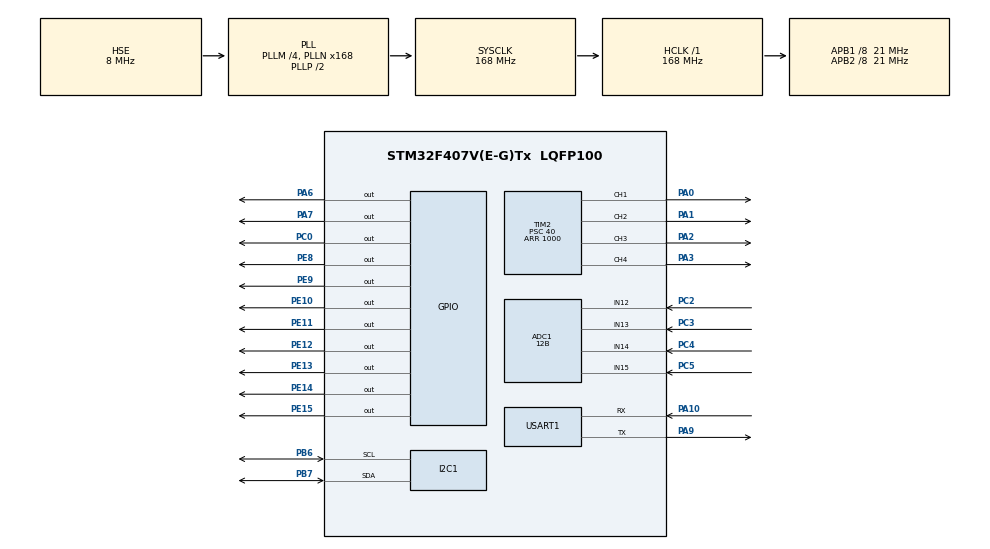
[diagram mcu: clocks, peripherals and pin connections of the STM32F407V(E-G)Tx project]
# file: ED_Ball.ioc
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ADC1.Channel-0\#ChannelRegularConversion=ADC_CHANNEL_12
ADC1.Channel-4\#ChannelRegularConversion=ADC_CHANNEL_13
ADC1.Channel-5\#ChannelRegularConversion=ADC_CHANNEL_14
ADC1.Channel-6\#ChannelRegularConversion=ADC_CHANNEL_15
ADC1.ClockPrescaler=ADC_CLOCK_SYNC_PCLK_DIV2
ADC1.ContinuousConvMode=ENABLE
ADC1.DMAContinuousRequests=ENABLE
ADC1.DataAlign=ADC_DATAALIGN_RIGHT
ADC1.DiscontinuousConvMode=DISABLE
ADC1.EOCSelection=ADC_EOC_SINGLE_CONV
ADC1.EnableAnalogWatchDog=false
ADC1.ExternalTrigConv=ADC_SOFTWARE_START
ADC1.ExternalTrigConvEdge=ADC_EXTERNALTRIGCONVEDGE_NONE
ADC1.InjNumberOfConversion=0
ADC1.NbrOfConversion=4
ADC1.NbrOfConversionFlag=1
ADC1.Rank-0\#ChannelRegularConversion=1
ADC1.Rank-4\#ChannelRegularConversion=2
ADC1.Rank-5\#ChannelRegularConversion=3
ADC1.Rank-6\#ChannelRegularConversion=4
ADC1.Resolution=ADC_RESOLUTION_12B
ADC1.SamplingTime-0\#ChannelRegularConversion=ADC_SAMPLETIME_3CYCLES
ADC1.SamplingTime-4\#ChannelRegularConversion=ADC_SAMPLETIME_3CYCLES
ADC1.SamplingTime-5\#ChannelRegularConversion=ADC_SAMPLETIME_3CYCLES
ADC1.SamplingTime-6\#ChannelRegularConversion=ADC_SAMPLETIME_3CYCLES
ADC1.ScanConvMode=ENABLE
ADC1.master=1
Dma.ADC1.3.Direction=DMA_PERIPH_TO_MEMORY
Dma.ADC1.3.FIFOMode=DMA_FIFOMODE_DISABLE
Dma.ADC1.3.Instance=DMA2_Stream0
Dma.ADC1.3.MemDataAlignment=DMA_MDATAALIGN_WORD
Dma.ADC1.3.MemInc=DMA_MINC_ENABLE
Dma.ADC1.3.Mode=DMA_CIRCULAR
Dma.ADC1.3.PeriphDataAlignment=DMA_PDATAALIGN_WORD
Dma.ADC1.3.PeriphInc=DMA_PINC_DISABLE
Dma.ADC1.3.Priority=DMA_PRIORITY_LOW
Dma.I2C1_RX.0.Direction=DMA_PERIPH_TO_MEMORY
Dma.I2C1_RX.0.FIFOMode=DMA_FIFOMODE_DISABLE
Dma.I2C1_RX.0.Instance=DMA1_Stream0
Dma.I2C1_RX.0.MemDataAlignment=DMA_MDATAALIGN_BYTE
Dma.I2C1_RX.0.MemInc=DMA_MINC_ENABLE
Dma.I2C1_RX.0.Mode=DMA_NORMAL
Dma.I2C1_RX.0.PeriphDataAlignment=DMA_PDATAALIGN_BYTE
Dma.I2C1_RX.0.PeriphInc=DMA_PINC_DISABLE
Dma.I2C1_RX.0.Priority=DMA_PRIORITY_LOW
Dma.I2C1_TX.1.Direction=DMA_MEMORY_TO_PERIPH
Dma.I2C1_TX.1.FIFOMode=DMA_FIFOMODE_DISABLE
Dma.I2C1_TX.1.Instance=DMA1_Stream6
Dma.I2C1_TX.1.MemDataAlignment=DMA_MDATAALIGN_BYTE
Dma.I2C1_TX.1.MemInc=DMA_MINC_ENABLE
Dma.I2C1_TX.1.Mode=DMA_NORMAL
Dma.I2C1_TX.1.PeriphDataAlignment=DMA_PDATAALIGN_BYTE
Dma.I2C1_TX.1.PeriphInc=DMA_PINC_DISABLE
Dma.I2C1_TX.1.Priority=DMA_PRIORITY_LOW
Dma.Request0=I2C1_RX
Dma.Request1=I2C1_TX
Dma.Request2=USART1_TX
Dma.Request3=ADC1
Dma.USART1_TX.2.Direction=DMA_MEMORY_TO_PERIPH
Dma.USART1_TX.2.FIFOMode=DMA_FIFOMODE_DISABLE
Dma.USART1_TX.2.Instance=DMA2_Stream7
Dma.USART1_TX.2.MemDataAlignment=DMA_MDATAALIGN_BYTE
Dma.USART1_TX.2.MemInc=DMA_MINC_ENABLE
Dma.USART1_TX.2.Mode=DMA_NORMAL
Dma.USART1_TX.2.PeriphDataAlignment=DMA_PDATAALIGN_BYTE
Dma.USART1_TX.2.PeriphInc=DMA_PINC_DISABLE
Dma.USART1_TX.2.Priority=DMA_PRIORITY_LOW
FREERTOS.MEMORY_ALLOCATION=1
FREERTOS.Mutexes01=sl_send_lock,Static,sl_send_lockControlBlock;dl_send_lock,Static,dl_send_lockControlBlock;ph_send_lock,Static,ph_send_lockControlBlock;ks_lock,Static,ks_lockControlBlock;task_lock,Static,task_lockControlBlock
FREERTOS.Tasks01=defaultTask,0,256,StartDefaultTask,Default,NULL,Static,defaultTaskBuffer,defaultTaskControlBlock;sendTask,0,256,StartSendTask,As external,NULL,Static,sendTaskBuffer,sendTaskControlBlock;receiveTask,0,512,StartReceiveTask,As external,NULL,Static,receiveTaskBuffer,receiveTaskControlBlock;controlTask,3,512,StartControlTask,Default,NULL,Static,controlTaskBuffer,controlTaskControlBlock;tasksTask,2,256,StartTasksTask,Default,NULL,Static,tasksTaskBuffer,tasksTaskControlBlock
FREERTOS.configMINIMAL_STACK_SIZE=256
FREERTOS.configUSE_PREEMPTION=1
I2C1.I2C_Mode=I2C_Fast
Mcu.Family=STM32F4
Mcu.Name=STM32F407V(E-G)Tx
Mcu.Package=LQFP100
NVIC.DMA1_Stream0_IRQn=true\:0\:0\:false\:false\:true\:false
NVIC.DMA1_Stream6_IRQn=true\:0\:0\:false\:false\:true\:false
NVIC.DMA2_Stream0_IRQn=true\:5\:0\:false\:false\:true\:true
NVIC.DMA2_Stream7_IRQn=true\:5\:0\:false\:false\:true\:true
NVIC.I2C1_EV_IRQn=true\:5\:0\:false\:false\:true\:true
NVIC.PriorityGroup=NVIC_PRIORITYGROUP_4
NVIC.TIM8_TRG_COM_TIM14_IRQn=true\:0\:0\:false\:false\:true\:false
NVIC.TIM8_UP_TIM13_IRQn=true\:5\:0\:false\:false\:true\:true
NVIC.TimeBase=TIM8_TRG_COM_TIM14_IRQn
NVIC.TimeBaseIP=TIM14
NVIC.USART1_IRQn=true\:0\:0\:false\:false\:true\:false
PA0-WKUP.Signal=S_TIM2_CH1_ETR
PA1.Signal=S_TIM2_CH2
PA10.Mode=Multiprocessor_communication
PA10.Signal=USART1_RX
PA2.Signal=S_TIM2_CH3
PA3.Signal=S_TIM2_CH4
PA6.Signal=GPIO_Output
PA7.Signal=GPIO_Output
PA9.Mode=Multiprocessor_communication
PA9.Signal=USART1_TX
PB6.Mode=I2C
PB6.Signal=I2C1_SCL
PB7.Mode=I2C
PB7.Signal=I2C1_SDA
PC0.Signal=GPIO_Output
PC2.Signal=ADCx_IN12
PC3.Signal=ADCx_IN13
PC4.Signal=ADCx_IN14
PC5.Signal=ADCx_IN15
PE10.Signal=GPIO_Output
PE11.Signal=GPIO_Output
PE12.Signal=GPIO_Output
PE13.Signal=GPIO_Output
PE14.Signal=GPIO_Output
PE15.Signal=GPIO_Output
PE8.Signal=GPIO_Output
PE9.Signal=GPIO_Output
PH0-OSC_IN.Mode=HSE-External-Oscillator
PH0-OSC_IN.Signal=RCC_OSC_IN
PH1-OSC_OUT.Mode=HSE-External-Oscillator
PH1-OSC_OUT.Signal=RCC_OSC_OUT
ProjectManager.HeapSize=0x200
ProjectManager.StackSize=0x400
ProjectManager.TargetToolchain=SW4STM32
RCC.48MHZClocksFreq_Value=84000000
RCC.AHBFreq_Value=168000000
RCC.APB1CLKDivider=RCC_HCLK_DIV8
RCC.APB1Freq_Value=21000000
RCC.APB1TimFreq_Value=42000000
RCC.APB2CLKDivider=RCC_HCLK_DIV8
RCC.APB2Freq_Value=21000000
RCC.APB2TimFreq_Value=42000000
RCC.CortexFreq_Value=21000000
RCC.Cortex_Div=SYSTICK_CLKSOURCE_HCLK_DIV8
RCC.HCLKFreq_Value=168000000
RCC.HSE_VALUE=8000000
RCC.HSI_VALUE=16000000
RCC.LSE_VALUE=32768
RCC.PLLM=4
RCC.PLLN=168
RCC.PLLSourceVirtual=RCC_PLLSOURCE_HSE
RCC.SYSCLKFreq_VALUE=168000000
RCC.SYSCLKSource=RCC_SYSCLKSOURCE_PLLCLK
RCC.VCOOutputFreq_Value=336000000
SH.ADCx_IN12.0=ADC1_IN12,IN12
SH.ADCx_IN13.0=ADC1_IN13,IN13
SH.ADCx_IN14.0=ADC1_IN14,IN14
SH.ADCx_IN15.0=ADC1_IN15,IN15
SH.S_TIM2_CH1_ETR.0=TIM2_CH1,PWM Generation1 CH1
SH.S_TIM2_CH2.0=TIM2_CH2,PWM Generation2 CH2
SH.S_TIM2_CH3.0=TIM2_CH3,PWM Generation3 CH3
SH.S_TIM2_CH4.0=TIM2_CH4,PWM Generation4 CH4
TIM13.Period=100
TIM13.Prescaler=40
TIM2.Channel-PWM\ Generation1\ CH1=TIM_CHANNEL_1
TIM2.Channel-PWM\ Generation2\ CH2=TIM_CHANNEL_2
TIM2.Channel-PWM\ Generation3\ CH3=TIM_CHANNEL_3
TIM2.Channel-PWM\ Generation4\ CH4=TIM_CHANNEL_4
TIM2.Period=1000
TIM2.Prescaler=40
TIM2.Pulse-PWM\ Generation1\ CH1=0
TIM2.Pulse-PWM\ Generation4\ CH4=0
USART1.VirtualMode=VM_ASYNC
VP_FREERTOS_VS_ENABLE.Mode=Enabled
VP_SYS_VS_tim14.Mode=TIM14
VP_TIM13_VS_ClockSourceINT.Mode=Enable_Timer
board=ED_Ball

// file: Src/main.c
/**
  ******************************************************************************
  * File Name          : main.c
  * Description        : Main program body
  ******************************************************************************
  * This notice applies to any and all portions of this file
  * that are not between comment pairs USER CODE BEGIN and
  * USER CODE END. Other portions of this file, whether
  * inserted by the user or by software development tools
  * are owned by their respective copyright owners.
  *
  * Copyright (c) 2017 STMicroelectronics International N.V.
  * All rights reserved.
  *
  * Redistribution and use in source and binary forms, with or without
  * modification, are permitted, provided that the following conditions are met:
  *
  * 1. Redistribution of source code must retain the above copyright notice,
  *    this list of conditions and the following disclaimer.
  * 2. Redistributions in binary form must reproduce the above copyright notice,
  *    this list of conditions and the following disclaimer in the documentation
  *    and/or other materials provided with the distribution.
  * 3. Neither the name of STMicroelectronics nor the names of other
  *    contributors to this software may be used to endorse or promote products
  *    derived from this software without specific written permission.
  * 4. This software, including modifications and/or derivative works of this
  *    software, must execute solely and exclusively on microcontroller or
  *    microprocessor devices manufactured by or for STMicroelectronics.
  * 5. Redistribution and use of this software other than as permitted under
  *    this license is void and will automatically terminate your rights under
  *    this license.
  *
  * THIS SOFTWARE IS PROVIDED BY STMICROELECTRONICS AND CONTRIBUTORS "AS IS"
  * AND ANY EXPRESS, IMPLIED OR STATUTORY WARRANTIES, INCLUDING, BUT NOT
  * LIMITED TO, THE IMPLIED WARRANTIES OF MERCHANTABILITY, FITNESS FOR A
  * PARTICULAR PURPOSE AND NON-INFRINGEMENT OF THIRD PARTY INTELLECTUAL PROPERTY
  * RIGHTS ARE DISCLAIMED TO THE FULLEST EXTENT PERMITTED BY LAW. IN NO EVENT
  * SHALL STMICROELECTRONICS OR CONTRIBUTORS BE LIABLE FOR ANY DIRECT, INDIRECT,
  * INCIDENTAL, SPECIAL, EXEMPLARY, OR CONSEQUENTIAL DAMAGES (INCLUDING, BUT NOT
  * LIMITED TO, PROCUREMENT OF SUBSTITUTE GOODS OR SERVICES; LOSS OF USE, DATA,
  * OR PROFITS; OR BUSINESS INTERRUPTION) HOWEVER CAUSED AND ON ANY THEORY OF
  * LIABILITY, WHETHER IN CONTRACT, STRICT LIABILITY, OR TORT (INCLUDING
  * NEGLIGENCE OR OTHERWISE) ARISING IN ANY WAY OUT OF THE USE OF THIS SOFTWARE,
  * EVEN IF ADVISED OF THE POSSIBILITY OF SUCH DAMAGE.
  *
  ******************************************************************************
  */
#include "main.h"
#include "stm32f4xx_hal.h"
#include "cmsis_os.h"

/* USER CODE BEGIN Includes */

#include <math.h>
#include <string.h>

#include "SimCom.h"
#include "ServiceLayer.h"

#include "flash.h"
#include "motion.h"
#include "mpu6050.h"
#include "pwm.h"
#include "pid.h"
#include "sr04.h"
#include "time.h"

/* USER CODE END Includes */

ADC_HandleTypeDef hadc1;
DMA_HandleTypeDef hdma_adc1;

I2C_HandleTypeDef hi2c1;
DMA_HandleTypeDef hdma_i2c1_rx;
DMA_HandleTypeDef hdma_i2c1_tx;

TIM_HandleTypeDef htim2;
TIM_HandleTypeDef htim13;

UART_HandleTypeDef huart1;
DMA_HandleTypeDef hdma_usart1_tx;

osThreadId defaultTaskHandle;
uint32_t defaultTaskBuffer[ 256 ];
osStaticThreadDef_t defaultTaskControlBlock;
osThreadId sendTaskHandle;
uint32_t sendTaskBuffer[ 256 ];
osStaticThreadDef_t sendTaskControlBlock;
osThreadId receiveTaskHandle;
uint32_t receiveTaskBuffer[ 512 ];
osStaticThreadDef_t receiveTaskControlBlock;
osThreadId controlTaskHandle;
uint32_t controlTaskBuffer[ 512 ];
osStaticThreadDef_t controlTaskControlBlock;
osThreadId tasksTaskHandle;
uint32_t tasksTaskBuffer[ 256 ];
osStaticThreadDef_t tasksTaskControlBlock;
osMutexId sl_send_lockHandle;
osStaticMutexDef_t sl_send_lockControlBlock;
osMutexId dl_send_lockHandle;
osStaticMutexDef_t dl_send_lockControlBlock;
osMutexId ph_send_lockHandle;
osStaticMutexDef_t ph_send_lockControlBlock;
osMutexId ks_lockHandle;
osStaticMutexDef_t ks_lockControlBlock;
osMutexId task_lockHandle;
osStaticMutexDef_t task_lockControlBlock;

/* USER CODE BEGIN PV */
/* Private variables ---------------------------------------------------------*/

struct kine_state ks = {0};
char currentTask = '0';

/* USER CODE END PV */

void SystemClock_Config(void);
static void MX_GPIO_Init(void);
static void MX_DMA_Init(void);
static void MX_USART1_UART_Init(void);
static void MX_I2C1_Init(void);
static void MX_TIM2_Init(void);
static void MX_TIM13_Init(void);
static void MX_ADC1_Init(void);
void StartDefaultTask(void const * argument);
extern void StartSendTask(void const * argument);
extern void StartReceiveTask(void const * argument);
void StartControlTask(void const * argument);
void StartTasksTask(void const * argument);

void HAL_TIM_MspPostInit(TIM_HandleTypeDef *htim);

/* USER CODE BEGIN PFP */
/* Private function prototypes -----------------------------------------------*/

/* USER CODE END PFP */

int main(void)
{

  /* MCU Configuration----------------------------------------------------------*/

  /* Reset of all peripherals, Initializes the Flash interface and the Systick. */
  HAL_Init();

  /* Configure the system clock */
  SystemClock_Config();

  /* Initialize all configured peripherals */
  MX_GPIO_Init();
  MX_DMA_Init();
  MX_USART1_UART_Init();
  MX_I2C1_Init();
  MX_TIM2_Init();
  MX_TIM13_Init();
  MX_ADC1_Init();

  /* USER CODE BEGIN 2 */
  simcom_init(&huart1);

  time_init(&htim13);

  flash_init();

  resistor_init(&hadc1);
  resistor_start_dma();

  /* USER CODE END 2 */

  /* Create the mutex(es) */
  /* definition and creation of sl_send_lock */
  osMutexStaticDef(sl_send_lock, &sl_send_lockControlBlock);
  sl_send_lockHandle = osMutexCreate(osMutex(sl_send_lock));

  /* definition and creation of dl_send_lock */
  osMutexStaticDef(dl_send_lock, &dl_send_lockControlBlock);
  dl_send_lockHandle = osMutexCreate(osMutex(dl_send_lock));

  /* definition and creation of ph_send_lock */
  osMutexStaticDef(ph_send_lock, &ph_send_lockControlBlock);
  ph_send_lockHandle = osMutexCreate(osMutex(ph_send_lock));

  /* definition and creation of ks_lock */
  osMutexStaticDef(ks_lock, &ks_lockControlBlock);
  ks_lockHandle = osMutexCreate(osMutex(ks_lock));

  /* definition and creation of task_lock */
  osMutexStaticDef(task_lock, &task_lockControlBlock);
  task_lockHandle = osMutexCreate(osMutex(task_lock));

  /* Create the thread(s) */
  /* definition and creation of defaultTask */
  osThreadStaticDef(defaultTask, StartDefaultTask, osPriorityNormal, 0, 256, defaultTaskBuffer, &defaultTaskControlBlock);
  defaultTaskHandle = osThreadCreate(osThread(defaultTask), NULL);

  /* definition and creation of sendTask */
  osThreadStaticDef(sendTask, StartSendTask, osPriorityNormal, 0, 256, sendTaskBuffer, &sendTaskControlBlock);
  sendTaskHandle = osThreadCreate(osThread(sendTask), NULL);

  /* definition and creation of receiveTask */
  osThreadStaticDef(receiveTask, StartReceiveTask, osPriorityNormal, 0, 512, receiveTaskBuffer, &receiveTaskControlBlock);
  receiveTaskHandle = osThreadCreate(osThread(receiveTask), NULL);

  /* definition and creation of controlTask */
  osThreadStaticDef(controlTask, StartControlTask, osPriorityRealtime, 0, 512, controlTaskBuffer, &controlTaskControlBlock);
  controlTaskHandle = osThreadCreate(osThread(controlTask), NULL);

  /* definition and creation of tasksTask */
  osThreadStaticDef(tasksTask, StartTasksTask, osPriorityHigh, 0, 256, tasksTaskBuffer, &tasksTaskControlBlock);
  tasksTaskHandle = osThreadCreate(osThread(tasksTask), NULL);

  /* Start scheduler */
  osKernelStart();

  /* We should never get here as control is now taken by the scheduler */

  /* Infinite loop */
  while (1)
  {

  }

}

/** System Clock Configuration
*/
void SystemClock_Config(void)
{

  RCC_OscInitTypeDef RCC_OscInitStruct;
  RCC_ClkInitTypeDef RCC_ClkInitStruct;

    /**Configure the main internal regulator output voltage
    */
  __HAL_RCC_PWR_CLK_ENABLE();

  __HAL_PWR_VOLTAGESCALING_CONFIG(PWR_REGULATOR_VOLTAGE_SCALE1);

    /**Initializes the CPU, AHB and APB busses clocks
    */
  RCC_OscInitStruct.OscillatorType = RCC_OSCILLATORTYPE_HSE;
  RCC_OscInitStruct.HSEState = RCC_HSE_ON;
  RCC_OscInitStruct.PLL.PLLState = RCC_PLL_ON;
  RCC_OscInitStruct.PLL.PLLSource = RCC_PLLSOURCE_HSE;
  RCC_OscInitStruct.PLL.PLLM = 4;
  RCC_OscInitStruct.PLL.PLLN = 168;
  RCC_OscInitStruct.PLL.PLLP = RCC_PLLP_DIV2;
  RCC_OscInitStruct.PLL.PLLQ = 4;
  if (HAL_RCC_OscConfig(&RCC_OscInitStruct) != HAL_OK)
  {
    _Error_Handler(__FILE__, __LINE__);
  }

    /**Initializes the CPU, AHB and APB busses clocks
    */
  RCC_ClkInitStruct.ClockType = RCC_CLOCKTYPE_HCLK|RCC_CLOCKTYPE_SYSCLK
                              |RCC_CLOCKTYPE_PCLK1|RCC_CLOCKTYPE_PCLK2;
  RCC_ClkInitStruct.SYSCLKSource = RCC_SYSCLKSOURCE_PLLCLK;
  RCC_ClkInitStruct.AHBCLKDivider = RCC_SYSCLK_DIV1;
  RCC_ClkInitStruct.APB1CLKDivider = RCC_HCLK_DIV8;
  RCC_ClkInitStruct.APB2CLKDivider = RCC_HCLK_DIV8;

  if (HAL_RCC_ClockConfig(&RCC_ClkInitStruct, FLASH_LATENCY_5) != HAL_OK)
  {
    _Error_Handler(__FILE__, __LINE__);
  }

    /**Configure the Systick interrupt time
    */
  HAL_SYSTICK_Config(HAL_RCC_GetHCLKFreq()/8000);

    /**Configure the Systick
    */
  HAL_SYSTICK_CLKSourceConfig(SYSTICK_CLKSOURCE_HCLK_DIV8);

  /* SysTick_IRQn interrupt configuration */
  HAL_NVIC_SetPriority(SysTick_IRQn, 15, 0);
}

/* ADC1 init function */
static void MX_ADC1_Init(void)
{

  ADC_ChannelConfTypeDef sConfig;

    /**Configure the global features of the ADC (Clock, Resolution, Data Alignment and number of conversion)
    */
  hadc1.Instance = ADC1;
  hadc1.Init.ClockPrescaler = ADC_CLOCK_SYNC_PCLK_DIV2;
  hadc1.Init.Resolution = ADC_RESOLUTION_12B;
  hadc1.Init.ScanConvMode = ENABLE;
  hadc1.Init.ContinuousConvMode = ENABLE;
  hadc1.Init.DiscontinuousConvMode = DISABLE;
  hadc1.Init.ExternalTrigConvEdge = ADC_EXTERNALTRIGCONVEDGE_NONE;
  hadc1.Init.ExternalTrigConv = ADC_SOFTWARE_START;
  hadc1.Init.DataAlign = ADC_DATAALIGN_RIGHT;
  hadc1.Init.NbrOfConversion = 4;
  hadc1.Init.DMAContinuousRequests = ENABLE;
  hadc1.Init.EOCSelection = ADC_EOC_SINGLE_CONV;
  if (HAL_ADC_Init(&hadc1) != HAL_OK)
  {
    _Error_Handler(__FILE__, __LINE__);
  }

    /**Configure for the selected ADC regular channel its corresponding rank in the sequencer and its sample time.
    */
  sConfig.Channel = ADC_CHANNEL_12;
  sConfig.Rank = 1;
  sConfig.SamplingTime = ADC_SAMPLETIME_3CYCLES;
  if (HAL_ADC_ConfigChannel(&hadc1, &sConfig) != HAL_OK)
  {
    _Error_Handler(__FILE__, __LINE__);
  }

    /**Configure for the selected ADC regular channel its corresponding rank in the sequencer and its sample time.
    */
  sConfig.Channel = ADC_CHANNEL_13;
  sConfig.Rank = 2;
  if (HAL_ADC_ConfigChannel(&hadc1, &sConfig) != HAL_OK)
  {
    _Error_Handler(__FILE__, __LINE__);
  }

    /**Configure for the selected ADC regular channel its corresponding rank in the sequencer and its sample time.
    */
  sConfig.Channel = ADC_CHANNEL_14;
  sConfig.Rank = 3;
  if (HAL_ADC_ConfigChannel(&hadc1, &sConfig) != HAL_OK)
  {
    _Error_Handler(__FILE__, __LINE__);
  }

    /**Configure for the selected ADC regular channel its corresponding rank in the sequencer and its sample time.
    */
  sConfig.Channel = ADC_CHANNEL_15;
  sConfig.Rank = 4;
  if (HAL_ADC_ConfigChannel(&hadc1, &sConfig) != HAL_OK)
  {
    _Error_Handler(__FILE__, __LINE__);
  }

}

/* I2C1 init function */
static void MX_I2C1_Init(void)
{

  hi2c1.Instance = I2C1;
  hi2c1.Init.ClockSpeed = 400000;
  hi2c1.Init.DutyCycle = I2C_DUTYCYCLE_2;
  hi2c1.Init.OwnAddress1 = 0;
  hi2c1.Init.AddressingMode = I2C_ADDRESSINGMODE_7BIT;
  hi2c1.Init.DualAddressMode = I2C_DUALADDRESS_DISABLE;
  hi2c1.Init.OwnAddress2 = 0;
  hi2c1.Init.GeneralCallMode = I2C_GENERALCALL_DISABLE;
  hi2c1.Init.NoStretchMode = I2C_NOSTRETCH_DISABLE;
  if (HAL_I2C_Init(&hi2c1) != HAL_OK)
  {
    _Error_Handler(__FILE__, __LINE__);
  }

}

/* TIM2 init function */
static void MX_TIM2_Init(void)
{

  TIM_MasterConfigTypeDef sMasterConfig;
  TIM_OC_InitTypeDef sConfigOC;

  htim2.Instance = TIM2;
  htim2.Init.Prescaler = 40;
  htim2.Init.CounterMode = TIM_COUNTERMODE_UP;
  htim2.Init.Period = 1000;
  htim2.Init.ClockDivision = TIM_CLOCKDIVISION_DIV1;
  if (HAL_TIM_PWM_Init(&htim2) != HAL_OK)
  {
    _Error_Handler(__FILE__, __LINE__);
  }

  sMasterConfig.MasterOutputTrigger = TIM_TRGO_RESET;
  sMasterConfig.MasterSlaveMode = TIM_MASTERSLAVEMODE_DISABLE;
  if (HAL_TIMEx_MasterConfigSynchronization(&htim2, &sMasterConfig) != HAL_OK)
  {
    _Error_Handler(__FILE__, __LINE__);
  }

  sConfigOC.OCMode = TIM_OCMODE_PWM1;
  sConfigOC.Pulse = 0;
  sConfigOC.OCPolarity = TIM_OCPOLARITY_HIGH;
  sConfigOC.OCFastMode = TIM_OCFAST_DISABLE;
  if (HAL_TIM_PWM_ConfigChannel(&htim2, &sConfigOC, TIM_CHANNEL_1) != HAL_OK)
  {
    _Error_Handler(__FILE__, __LINE__);
  }

  if (HAL_TIM_PWM_ConfigChannel(&htim2, &sConfigOC, TIM_CHANNEL_2) != HAL_OK)
  {
    _Error_Handler(__FILE__, __LINE__);
  }

  if (HAL_TIM_PWM_ConfigChannel(&htim2, &sConfigOC, TIM_CHANNEL_3) != HAL_OK)
  {
    _Error_Handler(__FILE__, __LINE__);
  }

  if (HAL_TIM_PWM_ConfigChannel(&htim2, &sConfigOC, TIM_CHANNEL_4) != HAL_OK)
  {
    _Error_Handler(__FILE__, __LINE__);
  }

  HAL_TIM_MspPostInit(&htim2);

}

/* TIM13 init function */
static void MX_TIM13_Init(void)
{

  htim13.Instance = TIM13;
  htim13.Init.Prescaler = 40;
  htim13.Init.CounterMode = TIM_COUNTERMODE_UP;
  htim13.Init.Period = 100;
  htim13.Init.ClockDivision = TIM_CLOCKDIVISION_DIV1;
  if (HAL_TIM_Base_Init(&htim13) != HAL_OK)
  {
    _Error_Handler(__FILE__, __LINE__);
  }

}

/* USART1 init function */
static void MX_USART1_UART_Init(void)
{

  huart1.Instance = USART1;
  huart1.Init.BaudRate = 115200;
  huart1.Init.WordLength = UART_WORDLENGTH_8B;
  huart1.Init.StopBits = UART_STOPBITS_1;
  huart1.Init.Parity = UART_PARITY_NONE;
  huart1.Init.Mode = UART_MODE_TX_RX;
  huart1.Init.HwFlowCtl = UART_HWCONTROL_NONE;
  huart1.Init.OverSampling = UART_OVERSAMPLING_16;
  if (HAL_MultiProcessor_Init(&huart1, 0, UART_WAKEUPMETHOD_IDLELINE) != HAL_OK)
  {
    _Error_Handler(__FILE__, __LINE__);
  }

}

static void MX_DMA_Init(void)
{
  /* DMA controller clock enable */
  __HAL_RCC_DMA1_CLK_ENABLE();
  __HAL_RCC_DMA2_CLK_ENABLE();

  /* DMA interrupt init */
  /* DMA1_Stream0_IRQn interrupt configuration */
  HAL_NVIC_SetPriority(DMA1_Stream0_IRQn, 0, 0);
  HAL_NVIC_EnableIRQ(DMA1_Stream0_IRQn);
  /* DMA1_Stream6_IRQn interrupt configuration */
  HAL_NVIC_SetPriority(DMA1_Stream6_IRQn, 0, 0);
  HAL_NVIC_EnableIRQ(DMA1_Stream6_IRQn);
  /* DMA2_Stream0_IRQn interrupt configuration */
  HAL_NVIC_SetPriority(DMA2_Stream0_IRQn, 5, 0);
  HAL_NVIC_EnableIRQ(DMA2_Stream0_IRQn);
  /* DMA2_Stream7_IRQn interrupt configuration */
  HAL_NVIC_SetPriority(DMA2_Stream7_IRQn, 5, 0);
  HAL_NVIC_EnableIRQ(DMA2_Stream7_IRQn);

}

/** Configure pins as
        * Analog
        * Input
        * Output
        * EVENT_OUT
        * EXTI
*/
static void MX_GPIO_Init(void)
{

  GPIO_InitTypeDef GPIO_InitStruct;

  /* GPIO Ports Clock Enable */
  __HAL_RCC_GPIOH_CLK_ENABLE();
  __HAL_RCC_GPIOC_CLK_ENABLE();
  __HAL_RCC_GPIOA_CLK_ENABLE();
  __HAL_RCC_GPIOE_CLK_ENABLE();
  __HAL_RCC_GPIOB_CLK_ENABLE();

  /*Configure GPIO pin Output Level */
  HAL_GPIO_WritePin(GPIOC, GPIO_PIN_0, GPIO_PIN_RESET);

  /*Configure GPIO pin Output Level */
  HAL_GPIO_WritePin(GPIOA, GPIO_PIN_6|GPIO_PIN_7, GPIO_PIN_RESET);

  /*Configure GPIO pin Output Level */
  HAL_GPIO_WritePin(GPIOE, GPIO_PIN_8|GPIO_PIN_9|GPIO_PIN_10|GPIO_PIN_11
                          |GPIO_PIN_12|GPIO_PIN_13|GPIO_PIN_14|GPIO_PIN_15, GPIO_PIN_RESET);

  /*Configure GPIO pin : PC0 */
  GPIO_InitStruct.Pin = GPIO_PIN_0;
  GPIO_InitStruct.Mode = GPIO_MODE_OUTPUT_PP;
  GPIO_InitStruct.Pull = GPIO_NOPULL;
  GPIO_InitStruct.Speed = GPIO_SPEED_FREQ_LOW;
  HAL_GPIO_Init(GPIOC, &GPIO_InitStruct);

  /*Configure GPIO pins : PA6 PA7 */
  GPIO_InitStruct.Pin = GPIO_PIN_6|GPIO_PIN_7;
  GPIO_InitStruct.Mode = GPIO_MODE_OUTPUT_PP;
  GPIO_InitStruct.Pull = GPIO_NOPULL;
  GPIO_InitStruct.Speed = GPIO_SPEED_FREQ_LOW;
  HAL_GPIO_Init(GPIOA, &GPIO_InitStruct);

  /*Configure GPIO pins : PE8 PE9 PE10 PE11
                           PE12 PE13 PE14 PE15 */
  GPIO_InitStruct.Pin = GPIO_PIN_8|GPIO_PIN_9|GPIO_PIN_10|GPIO_PIN_11
                          |GPIO_PIN_12|GPIO_PIN_13|GPIO_PIN_14|GPIO_PIN_15;
  GPIO_InitStruct.Mode = GPIO_MODE_OUTPUT_PP;
  GPIO_InitStruct.Pull = GPIO_NOPULL;
  GPIO_InitStruct.Speed = GPIO_SPEED_FREQ_LOW;
  HAL_GPIO_Init(GPIOE, &GPIO_InitStruct);

}

/* USER CODE BEGIN 4 */

#ifdef MPU6050_USE_MAG

void akm8963_calib()
{
	extern bool akm8963_calib_flag;
	akm8963_calib_flag = true;

	extern float mxd, myd, mzd, mxs, mys, mzs;

	sl_send(8, 1, "Calibrating", 12);
	osDelay(10);

	const float scale = 60.0f;

	float mmax[3] = {-MAG_RANGE, -MAG_RANGE, -MAG_RANGE};
	float mmin[3] = {MAG_RANGE, MAG_RANGE, MAG_RANGE};
	float *ms = &(ks.mx);
	float lms[3];

	for(int i = 0; i < 300; i++) {
		for(int j = 0; j < 3; j++) {
			lms[j] = 0;
		}

		for(int k = 0; k < 5; k++) {
			osMutexWait(ks_lockHandle, osWaitForever);

			for(int j = 0; j < 3; j++) {
				lms[j] += ms[j];
			}

			osMutexRelease(ks_lockHandle);

			osDelay(10);
		}

		for(int j = 0; j < 3; j++) {

			lms[j] /= 5;

			if(lms[j] > mmax[j]) {
				mmax[j] = lms[j];
			}
			if(lms[j] < mmin[j]) {
				mmin[j] = lms[j];
			}
		}
	}

	mxd = (mmax[0] + mmin[0]) / 2;
	mxs = scale / ((mmax[0] - mmin[0]) / 2);

	myd = (mmax[1] + mmin[1]) / 2;
	mys = scale / ((mmax[1] - mmin[1]) / 2);

	mzd = (mmax[2] + mmin[2]) / 2;
	mzs = scale / ((mmax[2] - mmin[2]) / 2);

	akm8963_calib_flag = false;

	flash_write(MAG_CALIB_FLASH_ADDR, (uint8_t*)(&mxd), 4);
	flash_write(MAG_CALIB_FLASH_ADDR + 4, (uint8_t*)(&myd), 4);
	flash_write(MAG_CALIB_FLASH_ADDR + 8, (uint8_t*)(&mzd), 4);
	flash_write(MAG_CALIB_FLASH_ADDR + 12, (uint8_t*)(&mxs), 4);
	flash_write(MAG_CALIB_FLASH_ADDR + 16, (uint8_t*)(&mys), 4);
	flash_write(MAG_CALIB_FLASH_ADDR + 20, (uint8_t*)(&mzs), 4);

	osDelay(10);
	sl_send(8, 1, "Calibrated", 11);
	sl_send(8, 0, &mxd, 4);
	sl_send(8, 0, &myd, 4);
	sl_send(8, 0, &mzd, 4);
	sl_send(8, 0, &mxs, 4);
	sl_send(8, 0, &mys, 4);
	sl_send(8, 0, &mzs, 4);
	osDelay(10);
}

#endif

/* USER CODE END 4 */

/* StartDefaultTask function */
void StartDefaultTask(void const * argument)
{

  /* USER CODE BEGIN 5 */

  char *msg;

  /* Infinite loop */
  for(int i = 0;; i++)
  {
	  HAL_GPIO_WritePin(GPIOC, GPIO_PIN_0, 0);
	  HAL_GPIO_WritePin(GPIOA, GPIO_PIN_6, 0);
	  HAL_GPIO_WritePin(GPIOA, GPIO_PIN_7, 1);
	  osDelay(100);

	  HAL_GPIO_WritePin(GPIOC, GPIO_PIN_0, 1);
	  HAL_GPIO_WritePin(GPIOA, GPIO_PIN_6, 1);
	  HAL_GPIO_WritePin(GPIOA, GPIO_PIN_7, 0);
	  osDelay(100);
  }
  /* USER CODE END 5 */
}

/* StartControlTask function */
void StartControlTask(void const * argument)
{
  /* USER CODE BEGIN StartControlTask */

  osDelay(200);

  motion_init(&htim2);

  uint32_t counter = 0;

  /* Infinite loop */
  for(;;)
  {
	counter++;

	if(counter % 50 == 0) {
		motion_control();
	}

	if(counter % 5 == 0) {
		motor_control();
	}

	osDelay(1);
  }

  /* USER CODE END StartControlTask */
}

/* StartTasksTask function */
void StartTasksTask(void const * argument)
{
  /* USER CODE BEGIN StartTasksTask */

  char task;

  extern uint16_t holes[9][2];

  /* Infinite loop */
  for(;;)
  {
	  osMutexWait(task_lockHandle, osWaitForever);

	  task = currentTask;

	  osMutexRelease(task_lockHandle);

	  extern mypid_t px, py;

	  switch(task) {
	  case '1':
		  sl_send(2, 2, "Starting task 1", 16);
		  move_to_pos(get_pos_x(), get_pos_y());
		  motor_start();
		  osDelay(6000);
		  motion_reset();
		  move_to_pos(320, 240);
		  sl_send(2, 2, "Stopping task 1", 16);
		  break;
	  case '2':
		  sl_send(2, 2, "Starting task 2", 16);

		  move_to_pos(holes[4][0], holes[4][1]);
		  motion_init_pid();
		  px.kp = 4.5;
		  px.kd = 5.0;

		  py.kp = 4.5;
		  py.kd = 5.0;

		  motor_start();

		  osDelay(15000);

		  motion_reset();
		  move_to_pos(320, 240);
		  sl_send(2, 2, "Stopping task 2", 16);
		  break;
	  case '3':
		  sl_send(2, 2, "Starting task 3", 16);

		  move_to_pos(holes[3][0] - 20, holes[3][1]);
		  motion_init_pid();
		  px.kp = 4.5;
		  px.kd = 0.5;

		  py.kp = 4.5;
		  py.kd = 0.5;

		  motor_start();

		  osDelay(11000);

		  move_to_pos(holes[4][0] + 10, holes[4][1]);

		  osDelay(8000);

		  motion_reset();
		  move_to_pos(320, 240);

		  sl_send(2, 2, "Stopping task 3", 16);
		  break;
	  case '4':
		  sl_send(2, 2, "Starting task 4", 16);

		  move_to_pos(holes[8][0], holes[8][1]);
		  motion_init_pid();
		  px.kp = 1.05;
		  px.kd = 1.5;

		  py.kp = 0.95;
		  py.kd = 1.5;

		  motor_start();

		  osDelay(10000);

		  motion_reset();
		  move_to_pos(320, 240);

		  sl_send(2, 2, "Stopping task 4", 16);
		  break;
	  case '5':
		  sl_send(2, 2, "Starting task 5", 16);

		  move_to_pos(holes[0][0], holes[0][1]);
		  motion_init_pid();
		  px.kp = 3.5;
		  px.kd = 1.5;

		  py.kp = 3.5;
		  py.kd = 1.5;

		  motor_start();

		  move_to_pos(holes[1][0], holes[1][1] - 40);

		  osDelay(6000);

		  px.kp = 3.5;
		  px.kd = 2.5;

		  py.kp = 3.5;
		  py.kd = 2.5;

		  move_to_pos(holes[5][0] + 10, holes[5][1] - 10);

		  osDelay(6000);

		  px.kp = 1.5;
		  px.kd = 1.5;

		  py.kp = 4.0;
		  py.kd = 3.5;

		  move_to_pos(holes[8][0], holes[8][1]);

		  osDelay(6000);

		  motion_reset();
		  move_to_pos(320, 240);

		  sl_send(2, 2, "Stopping task 5", 16);
		  break;
	  case '6':

		  sl_send(2, 2, "Starting task 6", 16);

		  move_to_pos(holes[3][0], holes[3][1]);
		  motion_init_pid();
		  px.kp = 4.0;
		  px.kd = 1.5;

		  py.kp = 4.0;
		  py.kd = 1.5;

		  motor_start();

		  for(int i = 0; i < 3; i++) {
			  move_to_pos(holes[7][0], holes[7][1] - 20);
			  osDelay(2000);

			  move_to_pos(holes[5][0] - 20, holes[5][1]);
			  osDelay(2000);

			  move_to_pos(holes[1][0], holes[1][1] + 20);
			  osDelay(2000);

			  move_to_pos(holes[3][0] + 20, holes[3][1]);
			  osDelay(2000);
		  }

		  move_to_pos(holes[7][0], holes[7][1]);

		  osDelay(2500);

		  move_to_pos(holes[8][0], holes[8][1]);

		  osDelay(10000);

		  motion_reset();
		  move_to_pos(320, 240);

		  sl_send(2, 2, "Stopping task 6", 16);

		  break;
	  case '7':

		  sl_send(2, 2, "Starting task 7", 16);

		  move_to_pos(holes[3][0], holes[3][1]);
		  motion_init_pid();
		  px.kp = 3.5;
		  px.kd = 2.5;

		  py.kp = 3.5;
		  py.kd = 2.5;

		  motor_start();

		  for(int i = 0; i < 10; i++) {
			  move_to_pos(holes[1][0], holes[1][1] + 20);
			  osDelay(2000);

			  move_to_pos(holes[5][0] - 20, holes[5][1]);
			  osDelay(2000);

			  move_to_pos(holes[7][0], holes[7][1] - 20);
			  osDelay(2000);

			  move_to_pos(holes[3][0] + 20, holes[3][1]);
			  osDelay(2000);
		  }

		  motion_reset();
		  move_to_pos(320, 240);

		  sl_send(2, 2, "Stopping task 7", 16);

		  break;
	  default:
		  break;
	  }

	  osMutexWait(task_lockHandle, osWaitForever);
	  currentTask = '0';
	  osMutexRelease(task_lockHandle);

//    while(move_to_hole(0) != true) {
//    	osDelay(1);
//    }
//    osDelay(2000);
//
//    move_to_hole(3);
//
//    osDelay(5000);
//
//    move_to_hole(4);
//
	  osDelay(1);
  }
  /* USER CODE END StartTasksTask */
}

void HAL_TIM_PeriodElapsedCallback(TIM_HandleTypeDef *htim)
{
  if (htim->Instance == TIM14) {
    HAL_IncTick();
  }
/* USER CODE BEGIN Callback 1 */

  time_callback(htim);

/* USER CODE END Callback 1 */
}

void _Error_Handler(char * file, int line)
{
  while(1)
  {
  }
}

/************************ (C) COPYRIGHT STMicroelectronics *****END OF FILE****/
